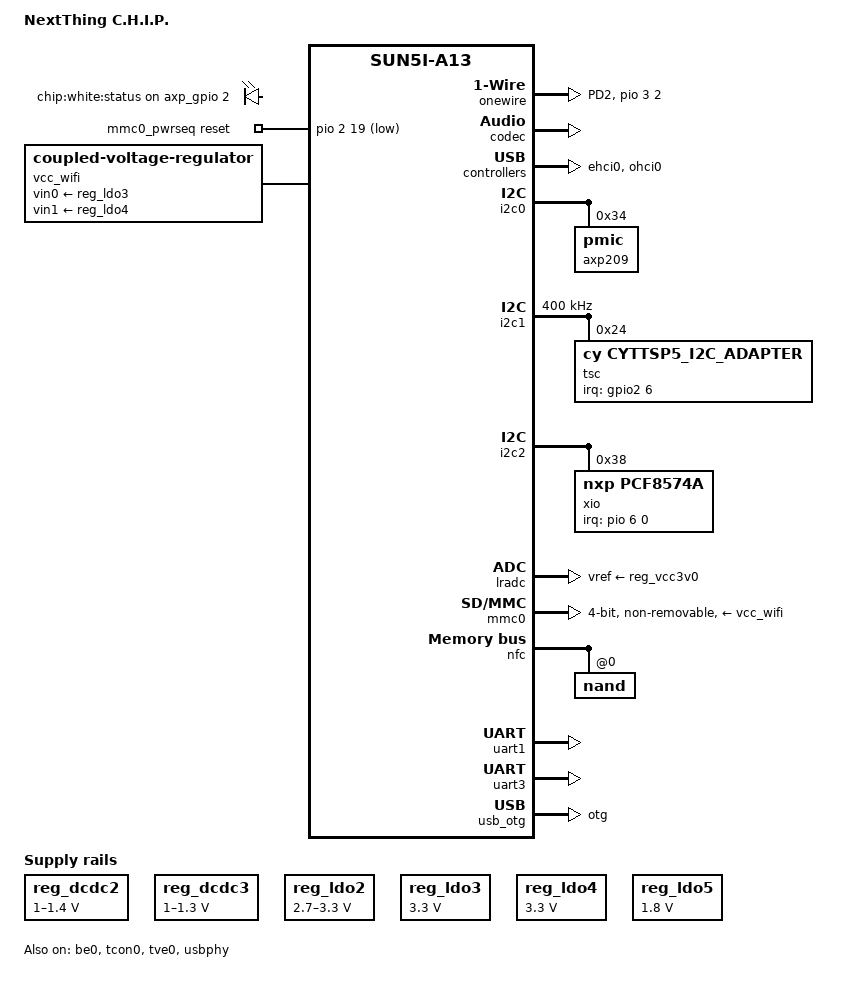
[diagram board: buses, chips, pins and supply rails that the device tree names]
/*
 * Copyright 2015 Free Electrons
 * Copyright 2015 NextThing Co
 *
 * Maxime Ripard <maxime.ripard@free-electrons.com>
 *
 * This file is dual-licensed: you can use it either under the terms
 * of the GPL or the X11 license, at your option. Note that this dual
 * licensing only applies to this file, and not this project as a
 * whole.
 *
 *  a) This file is free software; you can redistribute it and/or
 *     modify it under the terms of the GNU General Public License as
 *     published by the Free Software Foundation; either version 2 of the
 *     License, or (at your option) any later version.
 *
 *     This file is distributed in the hope that it will be useful,
 *     but WITHOUT ANY WARRANTY; without even the implied warranty of
 *     MERCHANTABILITY or FITNESS FOR A PARTICULAR PURPOSE.  See the
 *     GNU General Public License for more details.
 *
 * Or, alternatively,
 *
 *  b) Permission is hereby granted, free of charge, to any person
 *     obtaining a copy of this software and associated documentation
 *     files (the "Software"), to deal in the Software without
 *     restriction, including without limitation the rights to use,
 *     copy, modify, merge, publish, distribute, sublicense, and/or
 *     sell copies of the Software, and to permit persons to whom the
 *     Software is furnished to do so, subject to the following
 *     conditions:
 *
 *     The above copyright notice and this permission notice shall be
 *     included in all copies or substantial portions of the Software.
 *
 *     THE SOFTWARE IS PROVIDED "AS IS", WITHOUT WARRANTY OF ANY KIND,
 *     EXPRESS OR IMPLIED, INCLUDING BUT NOT LIMITED TO THE WARRANTIES
 *     OF MERCHANTABILITY, FITNESS FOR A PARTICULAR PURPOSE AND
 *     NONINFRINGEMENT. IN NO EVENT SHALL THE AUTHORS OR COPYRIGHT
 *     HOLDERS BE LIABLE FOR ANY CLAIM, DAMAGES OR OTHER LIABILITY,
 *     WHETHER IN AN ACTION OF CONTRACT, TORT OR OTHERWISE, ARISING
 *     FROM, OUT OF OR IN CONNECTION WITH THE SOFTWARE OR THE USE OR
 *     OTHER DEALINGS IN THE SOFTWARE.
 */

/dts-v1/;
#include "sun5i-r8.dtsi"
#include "sunxi-common-regulators.dtsi"

#include <dt-bindings/gpio/gpio.h>
#include <dt-bindings/interrupt-controller/irq.h>

/ {
	model = "NextThing C.H.I.P.";
	compatible = "nextthing,chip", "allwinner,sun5i-r8", "allwinner,sun5i-a13";

	aliases {
		i2c0 = &i2c0;
		i2c1 = &i2c1;
		i2c2 = &i2c2;
		serial0 = &uart1;
		serial1 = &uart3;
	};

	chosen {
		stdout-path = "serial0:115200n8";
	};

	leds {
		compatible = "gpio-leds";

		leds_status: status {
			label = "chip:white:status";
			gpios = <&axp_gpio 2 GPIO_ACTIVE_HIGH>;
			default-state = "on";
			linux,default-trigger = "heartbeat";
		};
	};

	mmc0_pwrseq: mmc0_pwrseq {
		compatible = "mmc-pwrseq-simple";
		pinctrl-names = "default";
		pinctrl-0 = <&chip_wifi_reg_on_pin>;
		reset-gpios = <&pio 2 19 GPIO_ACTIVE_LOW>; /* PC19 */
	};

	onewire {
		compatible = "w1-gpio";
		gpios = <&pio 3 2 GPIO_ACTIVE_HIGH>; /* PD2 */
		pinctrl-names = "default";
		pinctrl-0 = <&chip_w1_pin>;
	};

	/*
	 * Both LDO3 and LDO4 are used in parallel to power up the
	 * WiFi/BT Chip.
	 */
	vcc_wifi: wifi_reg {
		compatible = "coupled-voltage-regulator";
		regulator-name = "vcc-wifi";
		vin0-supply = <&reg_ldo3>;
		vin1-supply = <&reg_ldo4>;
	};
};

&be0 {
	status = "okay";
};

&codec {
	status = "okay";
};

&cpu0 {
	cpu-supply = <&reg_dcdc2>;
};

&ehci0 {
	status = "okay";
};

&i2c0 {
	pinctrl-names = "default";
	pinctrl-0 = <&i2c0_pins_a>;
	status = "okay";

	axp209: pmic@34 {
		reg = <0x34>;

		/*
		 * The interrupt is routed through the "External Fast
		 * Interrupt Request" pin (ball G13 of the module)
		 * directly to the main interrupt controller, without
		 * any other controller interfering.
		 */
		interrupts = <0>;
	};
};

#include "axp209.dtsi"

/*
 * i2c1 is routed to the external pins and doesn't have any device
 * attached to it on the C.H.I.P itself.
 */
&i2c1 {
	pinctrl-names = "default";
	pinctrl-0 = <&i2c1_pins_a>;
	status = "okay";
	clock-frequency = <400000>;

	tsc@24 {
		compatible = "cy,cyttsp5_i2c_adapter";
		reg = <0x24>;

		/* GPIO 38, high-to-low edge triggered */
		interrupts = <6 2>;
		interrupt-parent = <&gpio2>;
		cy,adapter_id = "cyttsp5_i2c_adapter";

		cy,core {
			cy,name = "cyttsp5_core";

			cy,irq_gpio = <205>;
			cy,rst_gpio = <138>;
			cy,boot_mode_gpio = <139>;
			cy,hid_desc_register = <1>;
			/*CY_CORE_FLAG_RESTORE_PARAMETERS */
			cy,flags = <4>;
			/* CY_CORE_EWG_NONE */
			cy,easy_wakeup_gesture = <0>;
			cy,btn_keys = <172 /* KEY_HOMEPAGE */
					   /* previously was KEY_HOME, new Android versions use KEY_HOMEPAGE */
				       139 /* KEY_MENU */
				       158 /* KEY_BACK */
				       217 /* KEY_SEARCH */
				       114 /* KEY_VOLUMEDOWN */
				       115 /* KEY_VOLUMEUP */
				       212 /* KEY_CAMERA */
				       116>; /* KEY_POWER */
			cy,btn_keys-tag = <0>;

			cy,mt {
				cy,name = "cyttsp5_mt";

				cy,inp_dev_name = "cyttsp5_mt";
				/* CY_MT_FLAG_FLIP | CY_MT_FLAG_INV_X | CY_MT_FLAG_INV_Y */
				cy,flags = <0x38>;
				cy,abs =
					/* ABS_MT_POSITION_X, CY_ABS_MIN_X, CY_ABS_MAX_X, 0, 0 */
					<0x35 0 880 0 0
					/* ABS_MT_POSITION_Y, CY_ABS_MIN_Y, CY_ABS_MAX_Y, 0, 0 */
					0x36 0 1280 0 0
					/* ABS_MT_PRESSURE, CY_ABS_MIN_P, CY_ABS_MAX_P, 0, 0 */
					0x3a 0 255 0 0
					/* CY_IGNORE_VALUE, CY_ABS_MIN_W, CY_ABS_MAX_W, 0, 0 */
					0xffff 0 255 0 0
					/* ABS_MT_TRACKING_ID, CY_ABS_MIN_T, CY_ABS_MAX_T, 0, 0 */
					0x39 0 15 0 0
					/* ABS_MT_TOUCH_MAJOR, 0, 255, 0, 0 */
					0x30 0 255 0 0
					/* ABS_MT_TOUCH_MINOR, 0, 255, 0, 0 */
					0x31 0 255 0 0
					/* ABS_MT_ORIENTATION, -127, 127, 0, 0 */
					0x34 0xffffff81 127 0 0
					/* ABS_MT_TOOL_TYPE, 0, MT_TOOL_MAX, 0, 0 */
					0x37 0 1 0 0
					/* ABS_MT_DISTANCE, 0, 255, 0, 0 */
					0x3b 0 255 0 0>;

				cy,vkeys_x = <720>;
				cy,vkeys_y = <1280>;

				cy,virtual_keys = /* KeyCode CenterX CenterY Width Height */
					/* KEY_BACK */
					<158 1360 90 160 180
					/* KEY_MENU */
					139 1360 270 160 180
					/* KEY_HOMEPAGE */
					172 1360 450 160 180
					/* KEY SEARCH */
					217 1360 630 160 180>;
			};

			cy,btn {
				cy,name = "cyttsp5_btn";

				cy,inp_dev_name = "cyttsp5_btn";
			};
		};
	};
};

&i2c2 {
	pinctrl-names = "default";
	pinctrl-0 = <&i2c2_pins_a>;
	status = "okay";

	xio: gpio@38 {
		compatible = "nxp,pcf8574a";
		reg = <0x38>;

		gpio-controller;
		#gpio-cells = <2>;

		interrupt-parent = <&pio>;
		interrupts = <6 0 IRQ_TYPE_EDGE_FALLING>;
		interrupt-controller;
		#interrupt-cells = <2>;
	};
};

&lradc {
	vref-supply = <&reg_vcc3v0>;
	status = "okay";
};

&mmc0_pins_a {
	allwinner,pull = <SUN4I_PINCTRL_PULL_UP>;
};

&mmc0 {
	pinctrl-names = "default";
	pinctrl-0 = <&mmc0_pins_a>;
	vmmc-supply = <&vcc_wifi>;
	mmc-pwrseq = <&mmc0_pwrseq>;
	bus-width = <4>;
	non-removable;
	status = "okay";
};

&nfc {
	pinctrl-names = "default";
	pinctrl-0 = <&nand_pins_a &nand_cs0_pins_a &nand_rb0_pins_a>;
	dmas = <&dma 1 3>;
	dma-names = "rxtx";
	status = "okay";

	nand@0 {
		#address-cells = <2>;
		#size-cells = <2>;
		reg = <0>;
		allwinner,rb = <0>;
		nand-ecc-mode = "hw";

		spl@0 {
			label = "SPL";
			reg = /bits/ 64 <0x0 0x400000>;
		};

		spl-backup@400000 {
			label = "SPL.backup";
			reg = /bits/ 64 <0x400000 0x400000>;
		};

		u-boot@800000 {
			label = "U-Boot";
			reg = /bits/ 64 <0x800000 0x400000>;
		};

		env@c00000 {
			label = "env";
			reg = /bits/ 64 <0xc00000 0x400000>;
		};

		rootfs@1000000 {
			label = "rootfs";
			reg = /bits/ 64 <0x1000000 0x1ff000000>;
		};
	};
};

&ohci0 {
	status = "okay";
};

&otg_sram {
	status = "okay";
};

&pio {
	chip_vbus_pin: chip_vbus_pin@0 {
		allwinner,pins = "PB10";
		allwinner,function = "gpio_out";
		allwinner,drive = <SUN4I_PINCTRL_10_MA>;
		allwinner,pull = <SUN4I_PINCTRL_NO_PULL>;
	};

	chip_wifi_reg_on_pin: chip_wifi_reg_on_pin@0 {
	        allwinner,pins = "PC19";
	        allwinner,function = "gpio_out";
	        allwinner,drive = <SUN4I_PINCTRL_10_MA>;
	        allwinner,pull = <SUN4I_PINCTRL_NO_PULL>;
	};

	chip_id_det_pin: chip_id_det_pin@0 {
		allwinner,pins = "PG2";
		allwinner,function = "gpio_in";
		allwinner,drive = <SUN4I_PINCTRL_10_MA>;
		allwinner,pull = <SUN4I_PINCTRL_NO_PULL>;
	};

	chip_w1_pin: chip_w1_pin@0 {
		allwinner,pins = "PD2";
		allwinner,function = "gpio_in";
	        allwinner,drive = <SUN4I_PINCTRL_10_MA>;
	        allwinner,pull = <SUN4I_PINCTRL_PULL_UP>;
	};
};

&reg_dcdc2 {
	regulator-min-microvolt = <1000000>;
	regulator-max-microvolt = <1400000>;
	regulator-name = "cpuvdd";
	regulator-always-on;
};

&reg_dcdc3 {
	regulator-min-microvolt = <1000000>;
	regulator-max-microvolt = <1300000>;
	regulator-name = "corevdd";
	regulator-always-on;
};

&reg_ldo1 {
	regulator-name = "rtcvdd";
};

&reg_ldo2 {
	regulator-min-microvolt = <2700000>;
	regulator-max-microvolt = <3300000>;
	regulator-name = "avcc";
	regulator-always-on;
};

&reg_ldo3 {
	regulator-min-microvolt = <3300000>;
	regulator-max-microvolt = <3300000>;
	regulator-name = "vcc-wifi-1";
};

&reg_ldo4 {
	regulator-min-microvolt = <3300000>;
	regulator-max-microvolt = <3300000>;
	regulator-name = "vcc-wifi-2";
};

&reg_ldo5 {
	regulator-min-microvolt = <1800000>;
	regulator-max-microvolt = <1800000>;
	regulator-name = "vcc-1v8";
};

&reg_usb0_vbus {
	pinctrl-0 = <&chip_vbus_pin>;
	vin-supply = <&reg_vcc5v0>;
	gpio = <&pio 1 10 GPIO_ACTIVE_HIGH>; /* PB10 */
	status = "okay";
};

&tcon0 {
	status = "okay";
};

&tve0 {
	status = "okay";
};

&uart1 {
	pinctrl-names = "default";
	pinctrl-0 = <&uart1_pins_b>;
	status = "okay";
};

&uart3 {
	pinctrl-names = "default";
	pinctrl-0 = <&uart3_pins_a>,
		    <&uart3_pins_cts_rts_a>;
	status = "okay";
};

&usb_otg {
	dr_mode = "otg";
	status = "okay";
};

&usb_power_supply {
	status = "okay";
};

&usbphy {
	pinctrl-names = "default";
	pinctrl-0 = <&chip_id_det_pin>;
	status = "okay";

	usb0_id_det-gpio = <&pio 6 2 GPIO_ACTIVE_HIGH>; /* PG2 */
	usb0_vbus_power-supply = <&usb_power_supply>;
	usb0_vbus-supply = <&reg_usb0_vbus>;
	usb1_vbus-supply = <&reg_vcc5v0>;
};
